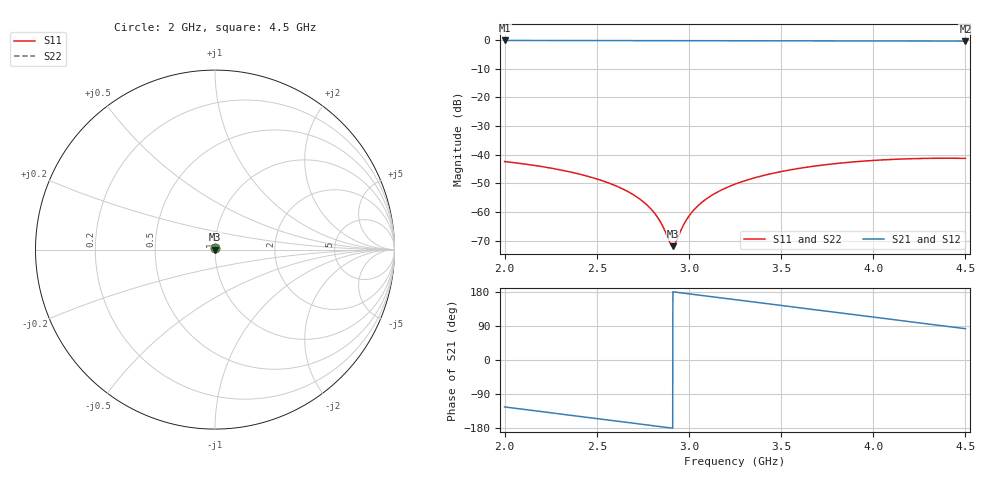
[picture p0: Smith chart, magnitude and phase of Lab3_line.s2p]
! Touchstone file from project Lab 3
! Exported from Circuit Design 2017.1.0
! Variables:
!  $thru = 40mm
!  line = 28.44mm
!  thru = 22mm
!  width = 3.01746mm
!Data is not renormalized
# GHZ S MA
! Modal data exported
! Port[1] = n1
! Port[2] = n2
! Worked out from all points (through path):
!   2501 points, 2 GHz to 4.5 GHz, reference per port
!   highest |S21| = -0.18 dB at 2 GHz (marker M1); lowest = -0.4 dB at 4.5 GHz (marker M2)
!   group delay of S21, straight-line fit = 171 ps
!   lowest |S11| = -71.9 dB at 2.913 GHz (marker M3), VSWR 1.00
!   |S11| at or under -10 dB: start of sweep to end of sweep
!   |S22| runs from -71.9 to -41.2 dB; largest |S21 - S12| = 1.3e-13
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2  0.007588 74.8  0.9799 -123.9  0.9799 -123.9  0.007588 74.8
! Port Impedance50 0 50 0
2.224  0.006039 58.0  0.9778 -137.7  0.9778 -137.7  0.006039 58.0
2.417  0.004492 44.1  0.9759 -149.5  0.9759 -149.5  0.004492 44.1
2.565  0.003207 34.3  0.9745 -158.6  0.9745 -158.6  0.003207 34.3
2.682  0.002153 27.8  0.9733 -165.8  0.9733 -165.8  0.002153 27.8
2.77  0.00135 25.3  0.9725 -171.2  0.9725 -171.2  0.00135 25.3
2.834  0.0007739 28.9  0.9719 -175.2  0.9719 -175.2  0.0007739 28.9
2.861  0.0005428 35.7  0.9716 -176.8  0.9716 -176.8  0.0005428 35.7
2.898  0.0002879 67.0  0.9713 -179.1  0.9713 -179.1  0.0002879 67.0
2.913  0.0002542 94.9  0.9711 180.0  0.9711 180.0  0.0002542 94.9
2.928  0.000292 122.3  0.971 179.1  0.971 179.1  0.000292 122.3
2.963  0.0005329 151.8  0.9706 176.9  0.9706 176.9  0.0005329 151.8
2.987  0.0007357 158.3  0.9704 175.4  0.9704 175.4  0.0007357 158.3
3.043  0.001232 162.5  0.9699 172.0  0.9699 172.0  0.001232 162.5
3.131  0.00202 160.8  0.969 166.6  0.969 166.6  0.00202 160.8
3.25  0.003061 154.7  0.9679 159.3  0.9679 159.3  0.003061 154.7
3.434  0.004572 143.1  0.9662 148.0  0.9662 148.0  0.004572 143.1
3.667  0.006231 127.5  0.964 133.7  0.964 133.7  0.006231 127.5
3.88  0.007423 113.1  0.962 120.6  0.962 120.6  0.007423 113.1
4.084  0.008214 99.2  0.9601 108.1  0.9601 108.1  0.008214 99.2
4.291  0.008629 85.2  0.9582 95.4  0.9582 95.4  0.008629 85.2
4.5  0.008627 71.3  0.9563 82.6  0.9563 82.6  0.008627 71.3
